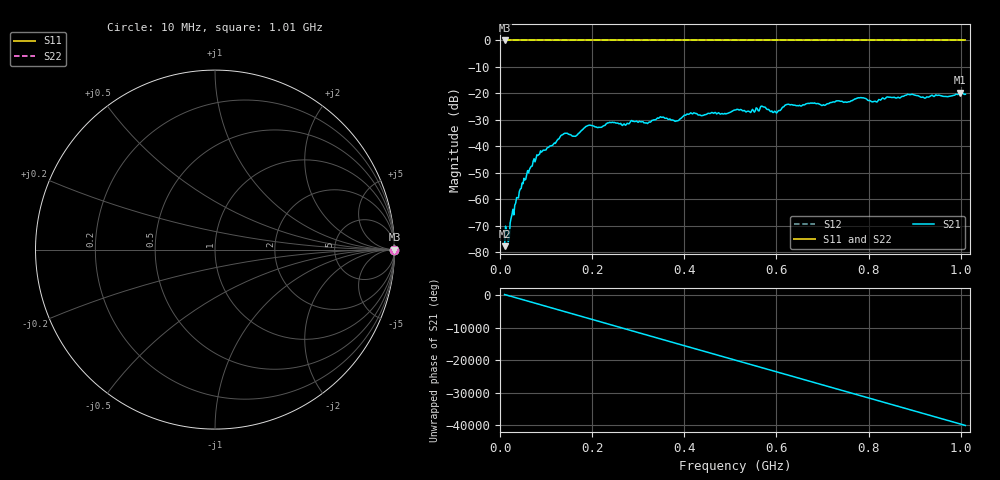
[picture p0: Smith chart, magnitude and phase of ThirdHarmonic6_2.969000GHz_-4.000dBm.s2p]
! 8/17/2025 8:23:57 AM
! C:\ANRITSUVNA\TEMP\TEMP.S2P
! CHANNEL.1
! TR.MEASUREMENT
! RAW.DATA
! RF.CORRECTION.OFF
! AVERAGING.OFF
! IF.BANDWIDTH: 5KHZ
! SWEEPTYPE:  FREQ.SWEEP(Linear)
! Reference Plane Port Info
! PORT:  PORT1  PORT2
! DISTANCE:  0  m  0  m
! TIME:  0  s  0  s
! PHASE.OFFSET:  0  deg.  0  deg.
! LOSS:  0  dB  0  dB
! REF.LOSS:  0  dB  0  dB
! REF.FREQ:  0  Hz  0  Hz
! Power Info
! POWER:  -20  dBm  -20  dBm
! EFF.POWER:  -20  dBm  -20  dBm
! SOURCE.ATTEN:  0  dB  0  dB
! TEST.ATTEN:  0  dB  0  dB
# GHZ S RI R 50.0
! FREQ.GHZ  S11RE  S11IM  S21RE  S21IM  S12RE  S12IM  S22RE  S22IM
!; PortSelection: Port_12
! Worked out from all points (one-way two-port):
!   501 points, 10 MHz to 1.01 GHz, reference 50 ohm
!   highest |S21| = -19.74 dB at 998 MHz (marker M1); lowest = -77.7 dB at 10 MHz (marker M2)
!   lowest |S11| = 0.0 dB at 10 MHz (marker M3)
!   |S11| at or under -10 dB: nowhere
!   |S22| runs from 0.0 to 0.0 dB; largest |S21 - S12| = 1.1
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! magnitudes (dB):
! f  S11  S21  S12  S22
! 10 MHz  0.0  -77.7  0.0  0.0
! 20 MHz  0.0  -74.9  0.0  0.0
! 28 MHz  0.0  -63.8  0.0  0.0
! 48 MHz  0.0  -53.9  0.0  0.0
! 76 MHz  0.0  -45.9  0.0  0.0
! 136 MHz  0.0  -35.6  0.0  0.0
! 162 MHz  0.0  -36.2  0.0  0.0
! 178 MHz  0.0  -33.9  0.0  0.0
! 192 MHz  0.0  -32.1  0.0  0.0
! 318 MHz  0.0  -31.1  0.0  0.0
! 344 MHz  0.0  -29.4  0.0  0.0
! 384 MHz  0.0  -30.4  0.0  0.0
! 410 MHz  0.0  -27.9  0.0  0.0
! 510 MHz  0.0  -26.3  0.0  0.0
! 570 MHz  0.0  -25.0  0.0  0.0
! 596 MHz  0.0  -26.7  0.0  0.0
! 622 MHz  0.0  -24.2  0.0  0.0
! 678 MHz  0.0  -23.7  0.0  0.0
! 814 MHz  0.0  -23.0  0.0  0.0
! 844 MHz  0.0  -21.4  0.0  0.0
! 998 MHz  0.0  -19.7  0.0  0.0
! 1.01 GHz  0.0  -20.3  0.0  0.0
